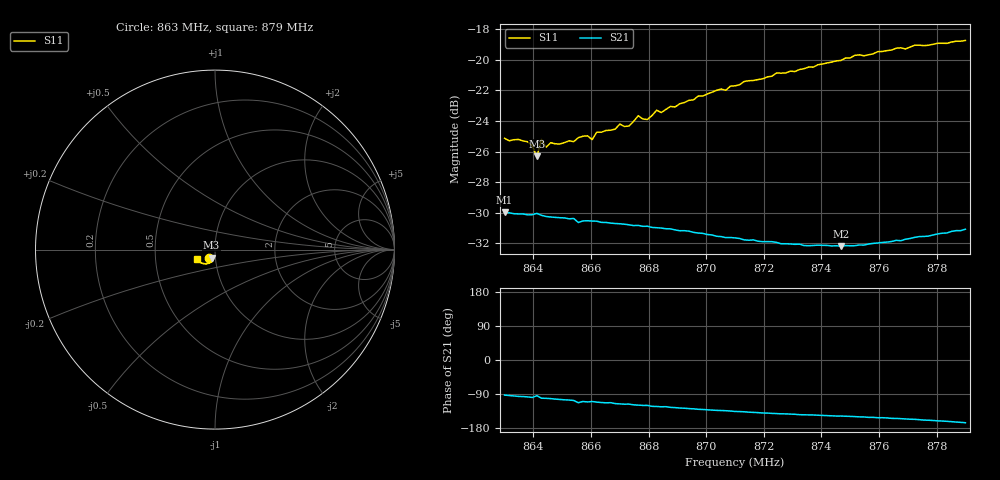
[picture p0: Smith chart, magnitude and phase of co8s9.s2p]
# HZ S RI R 50
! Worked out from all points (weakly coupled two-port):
!   101 points, 863 MHz to 879 MHz, reference 50 ohm
!   highest |S21| = -29.96 dB at 863 MHz (marker M1); lowest = -32.2 dB at 874.68 MHz (marker M2)
!   lowest |S11| = -26.3 dB at 864.12 MHz (marker M3), VSWR 1.10, Z = 48 - j4.27 ohm
!   |S11| at or under -10 dB: start of sweep to end of sweep
!   S12 and S22 are empty: the file has one direction only
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8.63e8  -0.033 -0.0445  -0.00143 -0.0317  0 0  0 0
8.638e8  -0.0292 -0.0454  -0.00399 -0.0309  0 0  0 0
8.6396e8  -0.0273 -0.0446  -0.00478 -0.0308  0 0  0 0
8.6412e8  -0.0189 -0.0445  -0.00231 -0.0314  0 0  0 0
8.6428e8  -0.0261 -0.0482  -0.00584 -0.0305  0 0  0 0
8.6444e8  -0.0243 -0.0457  -0.00595 -0.0302  0 0  0 0
8.646e8  -0.0247 -0.0475  -0.00631 -0.03  0 0  0 0
8.6572e8  -0.022 -0.0518  -0.0099 -0.028  0 0  0 0
8.6604e8  -0.0189 -0.0515  -0.00992 -0.028  0 0  0 0
8.662e8  -0.0218 -0.0538  -0.0107 -0.0277  0 0  0 0
8.6684e8  -0.0208 -0.0556  -0.0123 -0.0264  0 0  0 0
8.67e8  -0.0227 -0.0573  -0.0127 -0.0262  0 0  0 0
8.6732e8  -0.0188 -0.0578  -0.0128 -0.0259  0 0  0 0
8.6764e8  -0.0235 -0.0613  -0.014 -0.0251  0 0  0 0
8.6796e8  -0.0188 -0.061  -0.0142 -0.0248  0 0  0 0
8.6828e8  -0.0237 -0.0642  -0.0152 -0.0238  0 0  0 0
8.6844e8  -0.0221 -0.0635  -0.0155 -0.0235  0 0  0 0
8.71e8  -0.0339 -0.0749  -0.0188 -0.0182  0 0  0 0
8.7372e8  -0.0525 -0.0788  -0.0203 -0.0142  0 0  0 0
8.7468e8  -0.0627 -0.0773  -0.0208 -0.0131  0 0  0 0
8.7644e8  -0.0799 -0.0722  -0.0229 -0.0111  0 0  0 0
8.79e8  -0.1029 -0.0529  -0.0271 -0.00698  0 0  0 0
